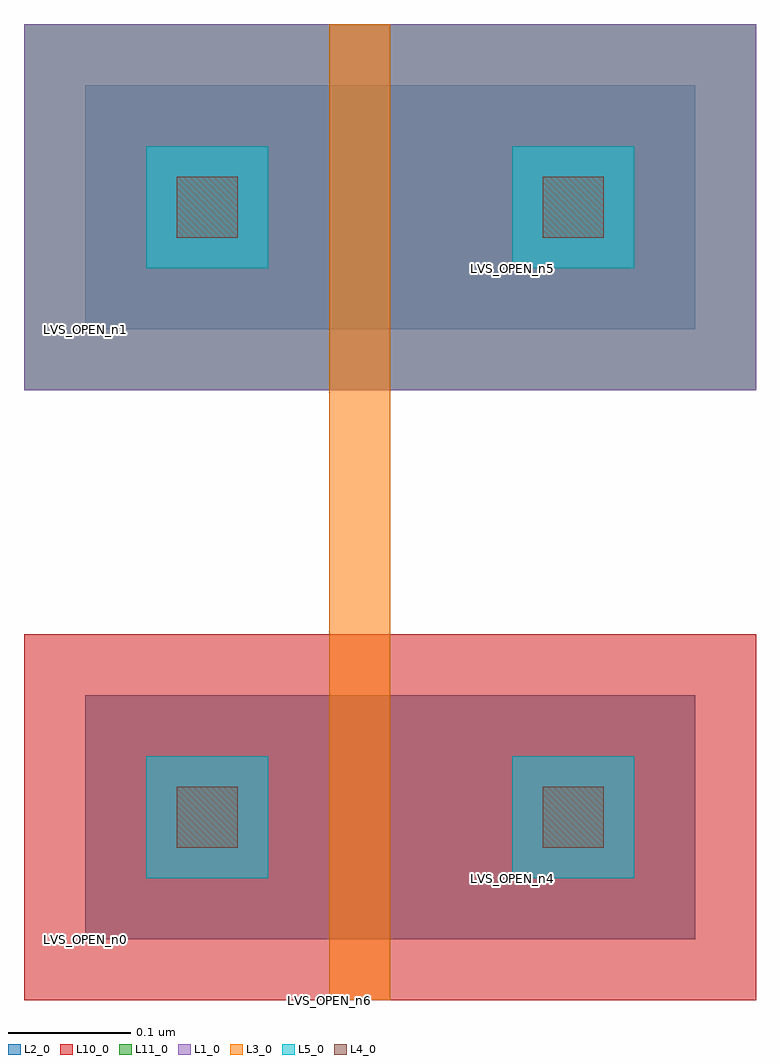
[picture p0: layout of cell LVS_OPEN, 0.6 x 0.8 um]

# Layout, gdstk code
import gdstk
lib = gdstk.Library(unit=1e-6, precision=1e-09)
def R(c, l, rs):  # rectangles x0, y0, x1, y1
    for r in rs: c.add(gdstk.rectangle(r[:2], r[2:], *l))
L1_0 = (1, 0)
L2_0 = (2, 0)
L3_0 = (3, 0)
L4_0 = (4, 0)
L5_0 = (5, 0)
L10_0 = (10, 0)
L11_0 = (11, 0)

lvs_open = lib.new_cell('LVS_OPEN')
R(lvs_open, L1_0, [(-0.05,0.45,0.55,0.75)])
R(lvs_open, L2_0, [(0,0,0.5,0.2), (0,0.5,0.5,0.7)])
R(lvs_open, L3_0, [(0.2,-0.05,0.25,0.75)])
R(lvs_open, L4_0, [(0.075,0.075,0.125,0.125), (0.375,0.075,0.425,0.125), (0.075,0.575,0.125,0.625), (0.375,0.575,0.425,0.625)])
R(lvs_open, L5_0, [(0.05,0.05,0.15,0.15), (0.35,0.05,0.45,0.15), (0.05,0.55,0.15,0.65), (0.35,0.55,0.45,0.65)])
R(lvs_open, L10_0, [(-0.05,-0.05,0.55,0.25)])
R(lvs_open, L11_0, [(-0.05,0.45,0.55,0.75)])
lvs_open.add(gdstk.Label('LVS_OPEN_n0', (0,0), layer=2, texttype=5))
lvs_open.add(gdstk.Label('LVS_OPEN_n1', (0,0.5), layer=2, texttype=5))
lvs_open.add(gdstk.Label('LVS_OPEN_n4', (0.35,0.05), layer=5, texttype=5))
lvs_open.add(gdstk.Label('LVS_OPEN_n5', (0.35,0.55), layer=5, texttype=5))
lvs_open.add(gdstk.Label('LVS_OPEN_n6', (0.2,-0.05), layer=3, texttype=5))

lib.write_gds('LVS_OPEN.gds')
